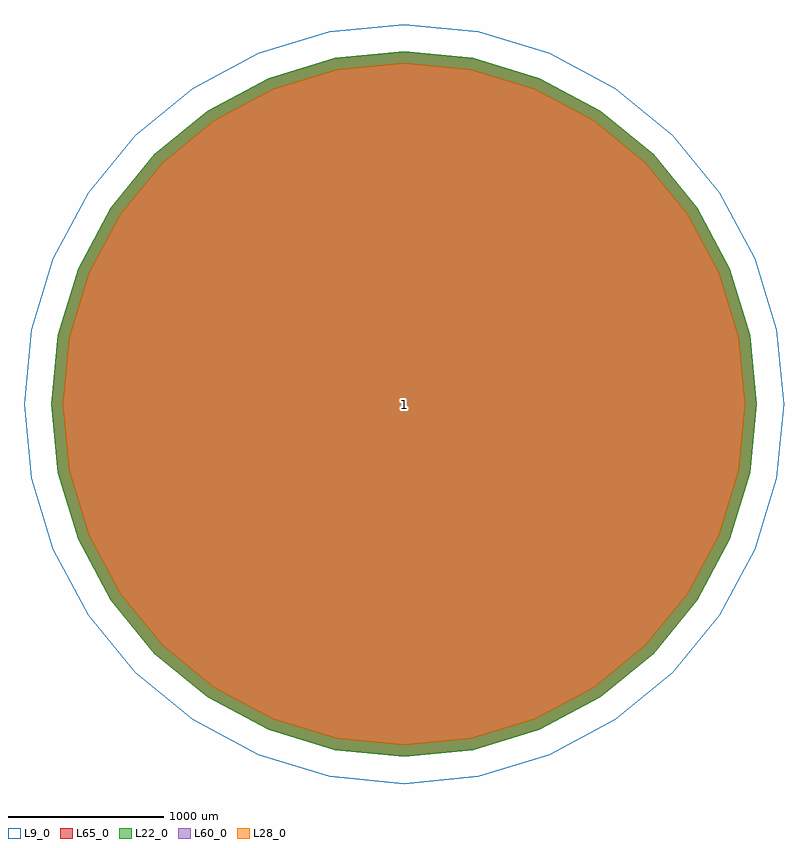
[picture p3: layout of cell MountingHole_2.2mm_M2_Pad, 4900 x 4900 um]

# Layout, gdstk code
import gdstk
lib = gdstk.Library(unit=1e-6, precision=1e-09)
def P(c, l, *ps):  # polygons
    for p in ps: c.add(gdstk.Polygon(p, *l))
L9_0 = (9, 0)
L22_0 = (22, 0)
L28_0 = (28, 0)
L60_0 = (60, 0)
L65_0 = (65, 0)

mountinghole_2_2mm_m2_pa = lib.new_cell('MountingHole_2.2mm_M2_Pad')
P(mountinghole_2_2mm_m2_pa, L9_0, [(2450,0),(2402.924,477.971),(2263.505,937.574),(2037.101,1361.147),(1732.412,1732.412),(1361.147,2037.101),(937.574,2263.505),(477.971,2402.924),(0,2450),(-477.971,2402.924),(-937.574,2263.505),(-1361.147,2037.101),(-1732.412,1732.412),(-2037.101,1361.147),(-2263.505,937.574),(-2402.924,477.971),(-2450,0),(-2402.924,-477.971),(-2263.505,-937.574),(-2037.101,-1361.147),(-1732.412,-1732.412),(-1361.147,-2037.101),(-937.574,-2263.505),(-477.971,-2402.924),(0,-2450),(477.971,-2402.924),(937.574,-2263.505),(1361.147,-2037.101),(1732.412,-1732.412),(2037.101,-1361.147),(2263.505,-937.574),(2402.924,-477.971)],
  [(2200,0),(2157.728,429.199),(2032.535,841.904),(1829.233,1222.255),(1555.635,1555.635),(1222.255,1829.233),(841.904,2032.535),(429.199,2157.728),(0,2200),(-429.199,2157.728),(-841.904,2032.535),(-1222.255,1829.233),(-1555.635,1555.635),(-1829.233,1222.255),(-2032.535,841.904),(-2157.728,429.199),(-2200,0),(-2157.728,-429.199),(-2032.535,-841.904),(-1829.233,-1222.255),(-1555.635,-1555.635),(-1222.255,-1829.233),(-841.904,-2032.535),(-429.199,-2157.728),(0,-2200),(429.199,-2157.728),(841.904,-2032.535),(1222.255,-1829.233),(1555.635,-1555.635),(1829.233,-1222.255),(2032.535,-841.904),(2157.728,-429.199)])
P(mountinghole_2_2mm_m2_pa, L22_0, [(2275,0),(2231.287,443.83),(2101.826,870.605),(1891.593,1263.922),(1608.668,1608.668),(1263.922,1891.593),(870.605,2101.826),(443.83,2231.287),(0,2275),(-443.83,2231.287),(-870.605,2101.826),(-1263.922,1891.593),(-1608.668,1608.668),(-1891.593,1263.922),(-2101.826,870.605),(-2231.287,443.83),(-2275,0),(-2231.287,-443.83),(-2101.826,-870.605),(-1891.593,-1263.922),(-1608.668,-1608.668),(-1263.922,-1891.593),(-870.605,-2101.826),(-443.83,-2231.287),(0,-2275),(443.83,-2231.287),(870.605,-2101.826),(1263.922,-1891.593),(1608.668,-1608.668),(1891.593,-1263.922),(2101.826,-870.605),(2231.287,-443.83)])
P(mountinghole_2_2mm_m2_pa, L28_0, [(2200,0),(2157.728,429.199),(2032.535,841.904),(1829.233,1222.255),(1555.635,1555.635),(1222.255,1829.233),(841.904,2032.535),(429.199,2157.728),(0,2200),(-429.199,2157.728),(-841.904,2032.535),(-1222.255,1829.233),(-1555.635,1555.635),(-1829.233,1222.255),(-2032.535,841.904),(-2157.728,429.199),(-2200,0),(-2157.728,-429.199),(-2032.535,-841.904),(-1829.233,-1222.255),(-1555.635,-1555.635),(-1222.255,-1829.233),(-841.904,-2032.535),(-429.199,-2157.728),(0,-2200),(429.199,-2157.728),(841.904,-2032.535),(1222.255,-1829.233),(1555.635,-1555.635),(1829.233,-1222.255),(2032.535,-841.904),(2157.728,-429.199)])
P(mountinghole_2_2mm_m2_pa, L60_0, [(2200,0),(2157.728,429.199),(2032.535,841.904),(1829.233,1222.255),(1555.635,1555.635),(1222.255,1829.233),(841.904,2032.535),(429.199,2157.728),(0,2200),(-429.199,2157.728),(-841.904,2032.535),(-1222.255,1829.233),(-1555.635,1555.635),(-1829.233,1222.255),(-2032.535,841.904),(-2157.728,429.199),(-2200,0),(-2157.728,-429.199),(-2032.535,-841.904),(-1829.233,-1222.255),(-1555.635,-1555.635),(-1222.255,-1829.233),(-841.904,-2032.535),(-429.199,-2157.728),(0,-2200),(429.199,-2157.728),(841.904,-2032.535),(1222.255,-1829.233),(1555.635,-1555.635),(1829.233,-1222.255),(2032.535,-841.904),(2157.728,-429.199)])
P(mountinghole_2_2mm_m2_pa, L65_0, [(2275,0),(2231.287,443.83),(2101.826,870.605),(1891.593,1263.922),(1608.668,1608.668),(1263.922,1891.593),(870.605,2101.826),(443.83,2231.287),(0,2275),(-443.83,2231.287),(-870.605,2101.826),(-1263.922,1891.593),(-1608.668,1608.668),(-1891.593,1263.922),(-2101.826,870.605),(-2231.287,443.83),(-2275,0),(-2231.287,-443.83),(-2101.826,-870.605),(-1891.593,-1263.922),(-1608.668,-1608.668),(-1263.922,-1891.593),(-870.605,-2101.826),(-443.83,-2231.287),(0,-2275),(443.83,-2231.287),(870.605,-2101.826),(1263.922,-1891.593),(1608.668,-1608.668),(1891.593,-1263.922),(2101.826,-870.605),(2231.287,-443.83)])
mountinghole_2_2mm_m2_pa.add(gdstk.Label('1', (0,0), layer=28, texttype=0))
mountinghole_2_2mm_m2_pa.add(gdstk.Label('type', (0,-3200), layer=9, texttype=0))
mountinghole_2_2mm_m2_pa.add(gdstk.Label('devicename', (0,3200), layer=9, texttype=0))

lib.write_gds('MountingHole_2.2mm_M2_Pad.gds')
